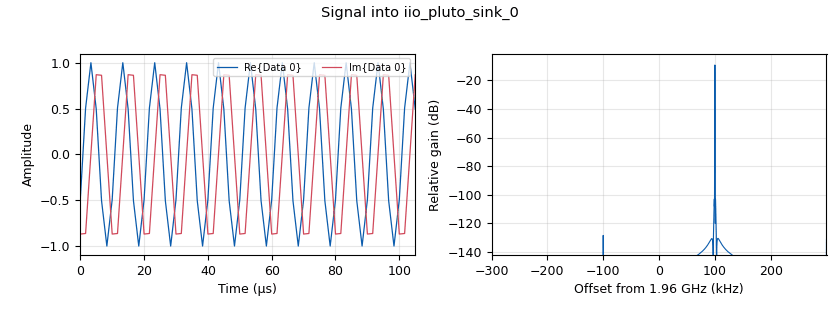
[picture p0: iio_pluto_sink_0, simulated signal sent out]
options:
  parameters:
    generate_options: qt_gui
    id: top_block
    output_language: python
  states: {}

blocks:
- name: BlankSpacerToFormatTab
  id: variable_qtgui_label
  parameters:
    gui_hint: ControlTab@0:2,0,4,5
    label: '"  "'
    type: string
    value: '"  "'
  states: {}
- name: Center_freq
  id: variable_qtgui_range
  parameters:
    gui_hint: ControlTab@1:0,0
    label: Signal Freq (MHz)
    min_len: '10'
    orient: Qt.Horizontal
    start: '1000'
    step: '10'
    stop: '2000'
    value: '1960'
  states: {}
- name: Phase_Delta
  id: variable_qtgui_range
  parameters:
    gui_hint: ControlTab@1:0,1,1,5
    orient: Qt.Horizontal
    start: '-199.6875'
    step: '2.8125'
    stop: '199.6875'
    value: '0'
  states: {}
- name: Rx1
  id: variable_qtgui_label
  parameters:
    gui_hint: ControlTab@1:1,0,1,1
    type: int
    value: ((Phase_Delta*0+Rx1_Cal) % 360)
  states: {}
- name: Rx1_Cal
  id: variable_qtgui_range
  parameters:
    gui_hint: ControlTab@1:1,1,1,5
    label: Rx1_Phase
    orient: Qt.Horizontal
    start: '0'
    step: '2.8125'
    stop: '357.1875'
    value: '0'
  states: {}
- name: Rx2
  id: variable_qtgui_label
  parameters:
    gui_hint: ControlTab@1:2,0,1,1
    type: int
    value: ((Phase_Delta*1+Rx2_Cal) % 360)
  states: {}
- name: Rx2_Cal
  id: variable_qtgui_range
  parameters:
    gui_hint: ControlTab@1:2,1,1,5
    label: Rx2_Phase
    orient: Qt.Horizontal
    start: '0'
    step: '2.8125'
    stop: '357.1875'
    value: '0'
  states: {}
- name: Rx3
  id: variable_qtgui_label
  parameters:
    gui_hint: ControlTab@1:3,0,1,1
    type: int
    value: ((Phase_Delta*2+Rx3_Cal) % 360)
  states: {}
- name: Rx3_Cal
  id: variable_qtgui_range
  parameters:
    gui_hint: ControlTab@1:3,1,1,5
    label: Rx3_Phase
    orient: Qt.Horizontal
    start: '0'
    step: '2.8125'
    stop: '357.1875'
    value: '0'
  states: {}
- name: Rx4
  id: variable_qtgui_label
  parameters:
    gui_hint: ControlTab@1:4,0,1,1
    type: int
    value: ((Phase_Delta*3+Rx4_Cal) % 360)
  states: {}
- name: Rx4_Cal
  id: variable_qtgui_range
  parameters:
    gui_hint: ControlTab@1:4,1,1,5
    label: Rx4_Phase
    orient: Qt.Horizontal
    start: '0'
    step: '2.8125'
    stop: '357.1875'
    value: '0'
  states: {}
- name: RxGain
  id: variable_qtgui_range
  parameters:
    gui_hint: ControlTab@0:1,0,1,5
    orient: Qt.Horizontal
    start: '0'
    step: '1'
    stop: '60'
    value: '0'
  states: {}
- name: TX_freq
  id: variable
  parameters:
    value: '1.96'
  states: {}
- name: samp_rate
  id: variable
  parameters:
    value: int(600000)
  states: {}
- name: ControlTab
  id: qtgui_tab_widget
  parameters:
    gui_hint: 7,0, 7,7
    label0: Pluto Control
    label1: ADAR1000 Phase Control
    label2: AllPlots
    label3: Waterfall
    num_tabs: '4'
  states: {}
- name: analog_sig_source_x_1
  id: analog_sig_source_x
  parameters:
    amp: '1'
    freq: int(100000)
    offset: '0'
    phase: '0'
    samp_rate: samp_rate
    type: complex
    waveform: analog.GR_COS_WAVE
  states: {}
- name: blocks_null_sink_0
  id: blocks_null_sink
  parameters:
    type: float
  states: {}
- name: epy_block_0
  id: epy_block
  parameters:
    PhaseDelta: Phase_Delta
    Rx1_Phase_Cal: Rx1_Cal
    Rx2_Phase_Cal: Rx2_Cal
    Rx3_Phase_Cal: Rx3_Cal
    Rx4_Phase_Cal: Rx4_Cal
    SignalFreq: int(Center_freq*1000000)
    UpdateRate: '0.1'
    _source_code: |
      # ADAR1000 Phase Control and Steering Angle Calculation

      '''
      Useful resources:
          Introduction to Phased Array Antennas: https://www.analog.com/en/analog-dialogue/articles/phased-array-antenna-patterns-part1.html#
          Full workshop build instructions at www.github.com/jonkraft/phasedarray
          Analog Devices Python Interfaces:  https://analogdevicesinc.github.io/pyadi-iio/
          Python examples:  https://github.com/analogdevicesinc/pyadi-iio/tree/master/examples
          GNU Radio and IIO Devices:  https://wiki.analog.com/resources/tools-software/linux-software/gnuradio
          ADI Kuiper Linux for Raspberry Pi:  https://wiki.analog.com/resources/tools-software/linux-software/gnuradio
      '''

      # Copyright (C) 2019 Analog Devices, Inc.
      #
      # All rights reserved.
      #
      # Redistribution and use in source and binary forms, with or without modification,
      # are permitted provided that the following conditions are met:
      #     - Redistributions of source code must retain the above copyright
      #       notice, this list of conditions and the following disclaimer.
      #     - Redistributions in binary form must reproduce the above copyright
      #       notice, this list of conditions and the following disclaimer in
      #       the documentation and/or other materials provided with the
      #       distribution.
      #     - Neither the name of Analog Devices, Inc. nor the names of its
      #       contributors may be used to endorse or promote products derived
      #       from this software without specific prior written permission.
      #     - The use of this software may or may not infringe the patent rights
      #       of one or more patent holders.  This license does not release you
      #       from the requirement that you obtain separate licenses from these
      #       patent holders to use this software.
      #     - Use of the software either in source or binary form, must be run
      #       on or directly connected to an Analog Devices Inc. component.
      #
      # THIS SOFTWARE IS PROVIDED BY ANALOG DEVICES "AS IS" AND ANY EXPRESS OR IMPLIED WARRANTIES,
      # INCLUDING, BUT NOT LIMITED TO, NON-INFRINGEMENT, MERCHANTABILITY AND FITNESS FOR A
      # PARTICULAR PURPOSE ARE DISCLAIMED.
      #
      # IN NO EVENT SHALL ANALOG DEVICES BE LIABLE FOR ANY DIRECT, INDIRECT, INCIDENTAL, SPECIAL,
      # EXEMPLARY, OR CONSEQUENTIAL DAMAGES (INCLUDING, BUT NOT LIMITED TO, INTELLECTUAL PROPERTY
      # RIGHTS, PROCUREMENT OF SUBSTITUTE GOODS OR SERVICES; LOSS OF USE, DATA, OR PROFITS; OR
      # BUSINESS INTERRUPTION) HOWEVER CAUSED AND ON ANY THEORY OF LIABILITY, WHETHER IN CONTRACT,
      # STRICT LIABILITY, OR TORT (INCLUDING NEGLIGENCE OR OTHERWISE) ARISING IN ANY WAY OUT OF
      # THE USE OF THIS SOFTWARE, EVEN IF ADVISED OF THE POSSIBILITY OF SUCH DAMAGE.


      import numpy as np
      import time
      import spidev
      from gnuradio import gr

      class blk(gr.sync_block):  # other base classes are basic_block, decim_block, interp_block

          def __init__(self, PhaseDelta=45, SignalFreq=10525000000, UpdateRate=2, Rx1_Phase_Cal=0, Rx2_Phase_Cal=0, Rx3_Phase_Cal=0, Rx4_Phase_Cal=0):  # only default arguments here
              """arguments to this function show up as parameters in GRC"""
              gr.sync_block.__init__(
                  self,
                  name='Calculate Steering Angle',   # will show up in GRC
                  in_sig=[],   # we have no flowgraph inputs to this block
                  out_sig=[np.float32]   # we have one flowgraph output, which is the calculated steering angle
              )
              # if an attribute with the same name as a parameter is found,
              # a callback is registered (properties work, too).
              self.UpdateRate = UpdateRate
              self.PhaseDelta = PhaseDelta
              self.Rx1_Phase_Cal = Rx1_Phase_Cal
              self.Rx2_Phase_Cal = Rx2_Phase_Cal
              self.Rx3_Phase_Cal = Rx3_Phase_Cal
              self.Rx4_Phase_Cal = Rx4_Phase_Cal

              # The ADDR is set by the address pins on the ADAR1000.  This is set by P10 on the eval board.
              self.ADDR=0x20            # ADDR 0x20 is set by jumpering pins 4 and 6 on P10
              #self.ADDR=0x00           # ADDR 0x00 is set by leaving all jumpers off of P10
              
              self.c = 299792458    # speed of light in m/s
              self.d = 0.015        # element to element spacing of the antenna
              self.f = SignalFreq
                     
              self.spi = spidev.SpiDev()
              self.spi.open(0, 0)  #set bus=0 and device=0
              self.spi.max_speed_hz = 500000
              self.spi.mode = 0

              # Initialize the ADAR1000
              self.spi.xfer2([self.ADDR, 0x00, 0x81])  # reset the device
              self.spi.xfer2([self.ADDR, 0x00, 0x18])  # Sets SDO  pin to active (4 wire SPI)
              self.spi.xfer2([self.ADDR+0x04, 0x00, 0x55])  # Trims LDO to 1.8V
              self.spi.xfer2([self.ADDR, 0x38, 0x60])  # Bypasses beam and bias RAM (use SPI for gain/phase)
              self.spi.xfer2([self.ADDR, 0x2E, 0x7F])  # Enables all 4 Rx channels, LNA, VGA, and Vector Mod
              self.spi.xfer2([self.ADDR, 0x34, 0x08])  # Sets LNA bias to middle of its range
              self.spi.xfer2([self.ADDR, 0x35, 0x16])  # Sets VGA bias to [0010] and vector mod bias to [110]
              self.spi.xfer2([self.ADDR, 0x31, 0xB0])  # SPI Control of Rx: Enables the whole Rx and sets the ADTR1107 switch high (Rx mode), SPI control of TR
              #self.spi.xfer2([self.ADDR, 0x31, 0x94])  # TR Control of Rx: Enables the whole Rx and sets the ADTR1107 switch high (Rx mode) when TR is low


              # Write registers to set Rx1-4 to Max Gain
              self.spi.xfer2([self.ADDR, 0x10, int(128+40)])  # Sets Rx1 VGA gain
              self.spi.xfer2([self.ADDR, 0x11, int(128+127)])  # Sets Rx2 VGA gain
              self.spi.xfer2([self.ADDR, 0x12, int(128+127)])  # Sets Rx3 VGA gain
              self.spi.xfer2([self.ADDR, 0x13, int(128+40)])  # Sets Rx4 VGA gain


          def work(self, input_items, output_items):
              # steering angle theta = arcsin(c*deltaphase/(2*pi*f*d)
              # if element spacing is lambda/2 then this simplifies to theta=arcsin(deltaphase(in radians)/pi)
              value1 = (self.c * np.radians(np.abs(self.PhaseDelta)))/(2*3.14159*self.f*self.d)
              clamped_value1 = max(min(1, value1), -1)     #arcsin argument must be between 1 and -1, or numpy will throw a warning
              theta = np.degrees(np.arcsin(clamped_value1))
              if self.PhaseDelta>=0:
                  SteerAngle = 90-theta   # positive PhaseDelta covers 0deg to 90 deg
              else:
                  SteerAngle = 90+theta # negative phase delta covers 0 deg to -90 deg
                  
              step_size = 2.8125
              Phase_A = ((np.rint(self.PhaseDelta*0/step_size)*step_size) + self.Rx1_Phase_Cal) % 360
              Phase_B = ((np.rint(self.PhaseDelta*1/step_size)*step_size) + self.Rx2_Phase_Cal) % 360
              Phase_C = ((np.rint(self.PhaseDelta*2/step_size)*step_size) + self.Rx3_Phase_Cal) % 360
              Phase_D = ((np.rint(self.PhaseDelta*3/step_size)*step_size) + self.Rx4_Phase_Cal) % 360
              channels = [Phase_A, Phase_B, Phase_C, Phase_D]

              # Write vector I and Q to set Rx1 (see Table 13 in ADAR1000 datasheet)
              i=1
              for Channel_Phase in channels:
                  #Channel_Phase = self.Rx1_phase     # Which Rx phase control channel are we looking at?
                  if i==1:
                      I = 0x14   # Rx1_I vector register address = 0x14
                      Q = 0x15   # Rx1_Q vector register address = 0x15
                  if i==2:
                      I = 0x16   # Rx2_I vector register address = 0x16
                      Q = 0x17   # Rx2_Q vector register address = 0x17
                  if i==3:
                      I = 0x18   # Rx3_I vector register address = 0x18
                      Q = 0x19   # Rx3_Q vector register address = 0x19
                  if i==4:
                      I = 0x1A   # Rx4_I vector register address = 0x1A
                      Q = 0x1B   # Rx4_Q vector register address = 0x1B
                  i = i+1

                  # See Table 13 in the ADAR1000 datasheet
                  # Quadrant 1
                  if Channel_Phase==0:
                      self.spi.xfer2([self.ADDR, I, 0x3F])
                      self.spi.xfer2([self.ADDR, Q, 0x20])
                  if Channel_Phase==2.8125:
                      self.spi.xfer2([self.ADDR, I, 0x3F])
                      self.spi.xfer2([self.ADDR, Q, 0x21])
                  if Channel_Phase==5.625:
                      self.spi.xfer2([self.ADDR, I, 0x3F])
                      self.spi.xfer2([self.ADDR, Q, 0x23])
                  if Channel_Phase==8.4375:
                      self.spi.xfer2([self.ADDR, I, 0x3F])
                      self.spi.xfer2([self.ADDR, Q, 0x24])
                  if Channel_Phase==11.25:
                      self.spi.xfer2([self.ADDR, I, 0x3F])
                      self.spi.xfer2([self.ADDR, Q, 0x26])
                  if Channel_Phase==14.0625:
                      self.spi.xfer2([self.ADDR, I, 0x3E])
                      self.spi.xfer2([self.ADDR, Q, 0x27])
                  if Channel_Phase==16.875:
                      self.spi.xfer2([self.ADDR, I, 0x3E])
                      self.spi.xfer2([self.ADDR, Q, 0x28])
                  if Channel_Phase==19.6875:
                      self.spi.xfer2([self.ADDR, I, 0x3D])
                      self.spi.xfer2([self.ADDR, Q, 0x2A])
                  if Channel_Phase==22.5:
                      self.spi.xfer2([self.ADDR, I, 0x3D])
                      self.spi.xfer2([self.ADDR, Q, 0x2B])
                  if Channel_Phase==25.3125:
                      self.spi.xfer2([self.ADDR, I, 0x3C])
                      self.spi.xfer2([self.ADDR, Q, 0x2D])
                  if Channel_Phase==28.125:
                      self.spi.xfer2([self.ADDR, I, 0x3C])
                      self.spi.xfer2([self.ADDR, Q, 0x2E])
                  if Channel_Phase==30.9375:
                      self.spi.xfer2([self.ADDR, I, 0x3B])
                      self.spi.xfer2([self.ADDR, Q, 0x2F])
                  if Channel_Phase==33.75:
                      self.spi.xfer2([self.ADDR, I, 0x3A])
                      self.spi.xfer2([self.ADDR, Q, 0x30])
                  if Channel_Phase==36.5625:
                      self.spi.xfer2([self.ADDR, I, 0x39])
                      self.spi.xfer2([self.ADDR, Q, 0x31])
                  if Channel_Phase==39.375:
                      self.spi.xfer2([self.ADDR, I, 0x38])
                      self.spi.xfer2([self.ADDR, Q, 0x33])
                  if Channel_Phase==42.1875:
                      self.spi.xfer2([self.ADDR, I, 0x37])
                      self.spi.xfer2([self.ADDR, Q, 0x34])
                  if Channel_Phase==45:
                      self.spi.xfer2([self.ADDR, I, 0x36])
                      self.spi.xfer2([self.ADDR, Q, 0x35])
                  if Channel_Phase==47.8125:
                      self.spi.xfer2([self.ADDR, I, 0x35])
                      self.spi.xfer2([self.ADDR, Q, 0x36])
                  if Channel_Phase==50.625:
                      self.spi.xfer2([self.ADDR, I, 0x34])
                      self.spi.xfer2([self.ADDR, Q, 0x37])
                  if Channel_Phase==53.4375:
                      self.spi.xfer2([self.ADDR, I, 0x33])
                      self.spi.xfer2([self.ADDR, Q, 0x38])
                  if Channel_Phase==56.25:
                      self.spi.xfer2([self.ADDR, I, 0x32])
                      self.spi.xfer2([self.ADDR, Q, 0x38])
                  if Channel_Phase==59.0625:
                      self.spi.xfer2([self.ADDR, I, 0x30])
                      self.spi.xfer2([self.ADDR, Q, 0x39])
                  if Channel_Phase==61.875:
                      self.spi.xfer2([self.ADDR, I, 0x2F])
                      self.spi.xfer2([self.ADDR, Q, 0x3A])
                  if Channel_Phase==64.6875:
                      self.spi.xfer2([self.ADDR, I, 0x2E])
                      self.spi.xfer2([self.ADDR, Q, 0x3A])
                  if Channel_Phase==67.5:
                      self.spi.xfer2([self.ADDR, I, 0x2C])
                      self.spi.xfer2([self.ADDR, Q, 0x3B])
                  if Channel_Phase==70.3125:
                      self.spi.xfer2([self.ADDR, I, 0x2B])
                      self.spi.xfer2([self.ADDR, Q, 0x3C])
                  if Channel_Phase==73.125:
                      self.spi.xfer2([self.ADDR, I, 0x2A])
                      self.spi.xfer2([self.ADDR, Q, 0x3C])
                  if Channel_Phase==75.9375:
                      self.spi.xfer2([self.ADDR, I, 0x28])
                      self.spi.xfer2([self.ADDR, Q, 0x3C])
                  if Channel_Phase==78.75:
                      self.spi.xfer2([self.ADDR, I, 0x27])
                      self.spi.xfer2([self.ADDR, Q, 0x3D])
                  if Channel_Phase==81.5625:
                      self.spi.xfer2([self.ADDR, I, 0x25])
                      self.spi.xfer2([self.ADDR, Q, 0x3D])
                  if Channel_Phase==84.375:
                      self.spi.xfer2([self.ADDR, I, 0x24])
                      self.spi.xfer2([self.ADDR, Q, 0x3D])
                  if Channel_Phase==87.1875:
                      self.spi.xfer2([self.ADDR, I, 0x22])
                      self.spi.xfer2([self.ADDR, Q, 0x3D])
                      
              # Quadrant 2
                  if Channel_Phase==90:
                      self.spi.xfer2([self.ADDR, I, 0x21])
                      self.spi.xfer2([self.ADDR, Q, 0x3D])
                  if Channel_Phase==92.8125:
                      self.spi.xfer2([self.ADDR, I, 0x01])
                      self.spi.xfer2([self.ADDR, Q, 0x3D])
                  if Channel_Phase==95.625:
                      self.spi.xfer2([self.ADDR, I, 0x03])
                      self.spi.xfer2([self.ADDR, Q, 0x3D])
                  if Channel_Phase==98.4375:
                      self.spi.xfer2([self.ADDR, I, 0x04])
                      self.spi.xfer2([self.ADDR, Q, 0x3D])
                  if Channel_Phase==101.25:
                      self.spi.xfer2([self.ADDR, I, 0x06])
                      self.spi.xfer2([self.ADDR, Q, 0x3D])
                  if Channel_Phase==104.0625:
                      self.spi.xfer2([self.ADDR, I, 0x07])
                      self.spi.xfer2([self.ADDR, Q, 0x3C])
                  if Channel_Phase==106.875:
                      self.spi.xfer2([self.ADDR, I, 0x08])
                      self.spi.xfer2([self.ADDR, Q, 0x3C])
                  if Channel_Phase==109.6875:
                      self.spi.xfer2([self.ADDR, I, 0x0A])
                      self.spi.xfer2([self.ADDR, Q, 0x3C])
                  if Channel_Phase==112.5:
                      self.spi.xfer2([self.ADDR, I, 0x0B])
                      self.spi.xfer2([self.ADDR, Q, 0x3B])
                  if Channel_Phase==115.3125:
                      self.spi.xfer2([self.ADDR, I, 0x0D])
                      self.spi.xfer2([self.ADDR, Q, 0x3A])
                  if Channel_Phase==118.125:
                      self.spi.xfer2([self.ADDR, I, 0x0E])
                      self.spi.xfer2([self.ADDR, Q, 0x3A])
                  if Channel_Phase==120.9375:
                      self.spi.xfer2([self.ADDR, I, 0x0F])
                      self.spi.xfer2([self.ADDR, Q, 0x39])
                  if Channel_Phase==123.75:
                      self.spi.xfer2([self.ADDR, I, 0x11])
                      self.spi.xfer2([self.ADDR, Q, 0x38])
                  if Channel_Phase==126.5625:
                      self.spi.xfer2([self.ADDR, I, 0x12])
                      self.spi.xfer2([self.ADDR, Q, 0x38])
                  if Channel_Phase==129.375:
                      self.spi.xfer2([self.ADDR, I, 0x13])
                      self.spi.xfer2([self.ADDR, Q, 0x37])
                  if Channel_Phase==132.1875:
                      self.spi.xfer2([self.ADDR, I, 0x14])
                      self.spi.xfer2([self.ADDR, Q, 0x36])
                  if Channel_Phase==135:
                      self.spi.xfer2([self.ADDR, I, 0x16])
                      self.spi.xfer2([self.ADDR, Q, 0x35])
                  if Channel_Phase==137.8125:
                      self.spi.xfer2([self.ADDR, I, 0x17])
                      self.spi.xfer2([self.ADDR, Q, 0x34])
                  if Channel_Phase==140.625:
                      self.spi.xfer2([self.ADDR, I, 0x18])
                      self.spi.xfer2([self.ADDR, Q, 0x33])
                  if Channel_Phase==143.4375:
                      self.spi.xfer2([self.ADDR, I, 0x19])
                      self.spi.xfer2([self.ADDR, Q, 0x31])
                  if Channel_Phase==146.25:
                      self.spi.xfer2([self.ADDR, I, 0x19])
                      self.spi.xfer2([self.ADDR, Q, 0x30])
                  if Channel_Phase==149.0625:
                      self.spi.xfer2([self.ADDR, I, 0x1A])
                      self.spi.xfer2([self.ADDR, Q, 0x2F])
                  if Channel_Phase==151.875:
                      self.spi.xfer2([self.ADDR, I, 0x1B])
                      self.spi.xfer2([self.ADDR, Q, 0x2E])
                  if Channel_Phase==154.6875:
                      self.spi.xfer2([self.ADDR, I, 0x1C])
                      self.spi.xfer2([self.ADDR, Q, 0x2D])
                  if Channel_Phase==157.5:
                      self.spi.xfer2([self.ADDR, I, 0x1C])
                      self.spi.xfer2([self.ADDR, Q, 0x2B])
                  if Channel_Phase==160.3125:
                      self.spi.xfer2([self.ADDR, I, 0x1D])
                      self.spi.xfer2([self.ADDR, Q, 0x2A])
                  if Channel_Phase==163.125:
                      self.spi.xfer2([self.ADDR, I, 0X1E])
                      self.spi.xfer2([self.ADDR, Q, 0x28])
                  if Channel_Phase==165.9375:
                      self.spi.xfer2([self.ADDR, I, 0x1E])
                      self.spi.xfer2([self.ADDR, Q, 0x27])
                  if Channel_Phase==168.75:
                      self.spi.xfer2([self.ADDR, I, 0x1E])
                      self.spi.xfer2([self.ADDR, Q, 0x26])
                  if Channel_Phase==171.5625:
                      self.spi.xfer2([self.ADDR, I, 0x1F])
                      self.spi.xfer2([self.ADDR, Q, 0x24])
                  if Channel_Phase==174.375:
                      self.spi.xfer2([self.ADDR, I, 0x1F])
                      self.spi.xfer2([self.ADDR, Q, 0x23])
                  if Channel_Phase==177.1875:
                      self.spi.xfer2([self.ADDR, I, 0x1F])
                      self.spi.xfer2([self.ADDR, Q, 0x21])
                      
              # Quadrant 3
                  if Channel_Phase==180:
                      self.spi.xfer2([self.ADDR, I, 0x1F])
                      self.spi.xfer2([self.ADDR, Q, 0x20])
                  if Channel_Phase==182.8125:
                      self.spi.xfer2([self.ADDR, I, 0x1F])
                      self.spi.xfer2([self.ADDR, Q, 0x20])
                  if Channel_Phase==185.625:
                      self.spi.xfer2([self.ADDR, I, 0x1F])
                      self.spi.xfer2([self.ADDR, Q, 0x03])
                  if Channel_Phase==188.4375:
                      self.spi.xfer2([self.ADDR, I, 0x1F])
                      self.spi.xfer2([self.ADDR, Q, 0x04])
                  if Channel_Phase==191.25:
                      self.spi.xfer2([self.ADDR, I, 0x1F])
                      self.spi.xfer2([self.ADDR, Q, 0x06])
                  if Channel_Phase==194.0625:
                      self.spi.xfer2([self.ADDR, I, 0x1E])
                      self.spi.xfer2([self.ADDR, Q, 0x07])
                  if Channel_Phase==196.875:
                      self.spi.xfer2([self.ADDR, I, 0x1E])
                      self.spi.xfer2([self.ADDR, Q, 0x08])
                  if Channel_Phase==199.6875:
                      self.spi.xfer2([self.ADDR, I, 0x1D])
                      self.spi.xfer2([self.ADDR, Q, 0x0A])
                  if Channel_Phase==202.5:
                      self.spi.xfer2([self.ADDR, I, 0x1D])
                      self.spi.xfer2([self.ADDR, Q, 0x0B])
                  if Channel_Phase==205.3125:
                      self.spi.xfer2([self.ADDR, I, 0x1C])
                      self.spi.xfer2([self.ADDR, Q, 0x0D])
                  if Channel_Phase==208.125:
                      self.spi.xfer2([self.ADDR, I, 0x1C])
                      self.spi.xfer2([self.ADDR, Q, 0x0E])
                  if Channel_Phase==210.9375:
                      self.spi.xfer2([self.ADDR, I, 0x1B])
                      self.spi.xfer2([self.ADDR, Q, 0x0F])
                  if Channel_Phase==213.75:
                      self.spi.xfer2([self.ADDR, I, 0x1A])
                      self.spi.xfer2([self.ADDR, Q, 0x10])
                  if Channel_Phase==216.5625:
                      self.spi.xfer2([self.ADDR, I, 0x19])
                      self.spi.xfer2([self.ADDR, Q, 0x11])
                  if Channel_Phase==219.375:
                      self.spi.xfer2([self.ADDR, I, 0x18])
                      self.spi.xfer2([self.ADDR, Q, 0x13])
                  if Channel_Phase==222.1875:
                      self.spi.xfer2([self.ADDR, I, 0x17])
                      self.spi.xfer2([self.ADDR, Q, 0x14])
                  if Channel_Phase==225:
                      self.spi.xfer2([self.ADDR, I, 0x16])
                      self.spi.xfer2([self.ADDR, Q, 0x15])
                  if Channel_Phase==227.8125:
                      self.spi.xfer2([self.ADDR, I, 0x15])
                      self.spi.xfer2([self.ADDR, Q, 0x16])
                  if Channel_Phase==230.625:
                      self.spi.xfer2([self.ADDR, I, 0x14])
                      self.spi.xfer2([self.ADDR, Q, 0x17])
                  if Channel_Phase==233.4375:
                      self.spi.xfer2([self.ADDR, I, 0x13])
                      self.spi.xfer2([self.ADDR, Q, 0x18])
                  if Channel_Phase==236.25:
                      self.spi.xfer2([self.ADDR, I, 0x12])
                      self.spi.xfer2([self.ADDR, Q, 0x18])
                  if Channel_Phase==239.0625:
                      self.spi.xfer2([self.ADDR, I, 0x10])
                      self.spi.xfer2([self.ADDR, Q, 0x19])
                  if Channel_Phase==241.875:
                      self.spi.xfer2([self.ADDR, I, 0x0F])
                      self.spi.xfer2([self.ADDR, Q, 0x1A])
                  if Channel_Phase==244.6875:
                      self.spi.xfer2([self.ADDR, I, 0x0E])
                      self.spi.xfer2([self.ADDR, Q, 0x1A])
                  if Channel_Phase==247.5:
                      self.spi.xfer2([self.ADDR, I, 0x0C])
                      self.spi.xfer2([self.ADDR, Q, 0x1B])
                  if Channel_Phase==250.3125:
                      self.spi.xfer2([self.ADDR, I, 0x0B])
                      self.spi.xfer2([self.ADDR, Q, 0x1C])
                  if Channel_Phase==253.125:
                      self.spi.xfer2([self.ADDR, I, 0x0A])
                      self.spi.xfer2([self.ADDR, Q, 0x1C])
                  if Channel_Phase==255.9375:
                      self.spi.xfer2([self.ADDR, I, 0x08])
                      self.spi.xfer2([self.ADDR, Q, 0x1C])
                  if Channel_Phase==258.75:
                      self.spi.xfer2([self.ADDR, I, 0x07])
                      self.spi.xfer2([self.ADDR, Q, 0x1D])
                  if Channel_Phase==261.5625:
                      self.spi.xfer2([self.ADDR, I, 0x05])
                      self.spi.xfer2([self.ADDR, Q, 0x1D])
                  if Channel_Phase==264.375:
                      self.spi.xfer2([self.ADDR, I, 0x04])
                      self.spi.xfer2([self.ADDR, Q, 0x1D])
                  if Channel_Phase==267.1875:
                      self.spi.xfer2([self.ADDR, I, 0x02])
                      self.spi.xfer2([self.ADDR, Q, 0x1D])
              
              # Quadrant 4
                  if Channel_Phase==270:
                      self.spi.xfer2([self.ADDR, I, 0x01])
                      self.spi.xfer2([self.ADDR, Q, 0x1D])
                  if Channel_Phase==272.8125:
                      self.spi.xfer2([self.ADDR, I, 0x21])
                      self.spi.xfer2([self.ADDR, Q, 0x1D])
                  if Channel_Phase==275.625:
                      self.spi.xfer2([self.ADDR, I, 0x23])
                      self.spi.xfer2([self.ADDR, Q, 0x1D])
                  if Channel_Phase==278.4375:
                      self.spi.xfer2([self.ADDR, I, 0x24])
                      self.spi.xfer2([self.ADDR, Q, 0x1D])
                  if Channel_Phase==281.25:
                      self.spi.xfer2([self.ADDR, I, 0x26])
                      self.spi.xfer2([self.ADDR, Q, 0x1D])
                  if Channel_Phase==284.0625:
                      self.spi.xfer2([self.ADDR, I, 0x27])
                      self.spi.xfer2([self.ADDR, Q, 0x1C])
                  if Channel_Phase==286.875:
                      self.spi.xfer2([self.ADDR, I, 0x28])
                      self.spi.xfer2([self.ADDR, Q, 0x1C])
                  if Channel_Phase==289.6875:
                      self.spi.xfer2([self.ADDR, I, 0x2A])
                      self.spi.xfer2([self.ADDR, Q, 0x1C])
                  if Channel_Phase==292.5:
                      self.spi.xfer2([self.ADDR, I, 0x2B])
                      self.spi.xfer2([self.ADDR, Q, 0x1B])
                  if Channel_Phase==295.3125:
                      self.spi.xfer2([self.ADDR, I, 0x2D])
                      self.spi.xfer2([self.ADDR, Q, 0x1A])
                  if Channel_Phase==298.125:
                      self.spi.xfer2([self.ADDR, I, 0x2E])
                      self.spi.xfer2([self.ADDR, Q, 0x1A])
                  if Channel_Phase==300.9375:
                      self.spi.xfer2([self.ADDR, I, 0x2F])
                      self.spi.xfer2([self.ADDR, Q, 0x19])
                  if Channel_Phase==303.75:
                      self.spi.xfer2([self.ADDR, I, 0x31])
                      self.spi.xfer2([self.ADDR, Q, 0x18])
                  if Channel_Phase==306.5625:
                      self.spi.xfer2([self.ADDR, I, 0x32])
                      self.spi.xfer2([self.ADDR, Q, 0x18])
                  if Channel_Phase==309.375:
                      self.spi.xfer2([self.ADDR, I, 0x33])
                      self.spi.xfer2([self.ADDR, Q, 0x17])
                  if Channel_Phase==312.1875:
                      self.spi.xfer2([self.ADDR, I, 0x34])
                      self.spi.xfer2([self.ADDR, Q, 0x16])
                  if Channel_Phase==315:
                      self.spi.xfer2([self.ADDR, I, 0x36])
                      self.spi.xfer2([self.ADDR, Q, 0x15])
                  if Channel_Phase==317.8125:
                      self.spi.xfer2([self.ADDR, I, 0x37])
                      self.spi.xfer2([self.ADDR, Q, 0x14])
                  if Channel_Phase==320.625:
                      self.spi.xfer2([self.ADDR, I, 0x38])
                      self.spi.xfer2([self.ADDR, Q, 0x13])
                  if Channel_Phase==323.4375:
                      self.spi.xfer2([self.ADDR, I, 0x39])
                      self.spi.xfer2([self.ADDR, Q, 0x11])
                  if Channel_Phase==326.25:
                      self.spi.xfer2([self.ADDR, I, 0x39])
                      self.spi.xfer2([self.ADDR, Q, 0x10])
                  if Channel_Phase==329.0625:
                      self.spi.xfer2([self.ADDR, I, 0x3A])
                      self.spi.xfer2([self.ADDR, Q, 0x0F])
                  if Channel_Phase==331.875:
                      self.spi.xfer2([self.ADDR, I, 0x3B])
                      self.spi.xfer2([self.ADDR, Q, 0x0E])
                  if Channel_Phase==334.6875:
                      self.spi.xfer2([self.ADDR, I, 0x3C])
                      self.spi.xfer2([self.ADDR, Q, 0x0D])
                  if Channel_Phase==337.5:
                      self.spi.xfer2([self.ADDR, I, 0x3C])
                      self.spi.xfer2([self.ADDR, Q, 0x0B])
                  if Channel_Phase==340.3125:
                      self.spi.xfer2([self.ADDR, I, 0x3D])
                      self.spi.xfer2([self.ADDR, Q, 0x0A])
                  if Channel_Phase==343.125:
                      self.spi.xfer2([self.ADDR, I, 0x3E])
                      self.spi.xfer2([self.ADDR, Q, 0x08])
                  if Channel_Phase==345.9375:
                      self.spi.xfer2([self.ADDR, I, 0x3E])
                      self.spi.xfer2([self.ADDR, Q, 0x07])
                  if Channel_Phase==348.75:
                      self.spi.xfer2([self.ADDR, I, 0x3E])
                      self.spi.xfer2([self.ADDR, Q, 0x06])
                  if Channel_Phase==351.5625:
                      self.spi.xfer2([self.ADDR, I, 0x3F])
                      self.spi.xfer2([self.ADDR, Q, 0x04])
                  if Channel_Phase==354.375:
                      self.spi.xfer2([self.ADDR, I, 0x3F])
                      self.spi.xfer2([self.ADDR, Q, 0x03])
                  if Channel_Phase==357.1875:
                      self.spi.xfer2([self.ADDR, I, 0x3F])
                      self.spi.xfer2([self.ADDR, Q, 0x01])
                      
              self.spi.xfer2([self.ADDR, 0x28, 0x01])  # Loads Rx vectors from SPI.
              time.sleep(self.UpdateRate)
              output_items[0][:] = SteerAngle * (-1) + 90
              
              return len(output_items[0])
  states: {}
- name: iio_pluto_sink_0
  id: iio_pluto_sink
  parameters:
    attenuation1: '10'
    auto_filter: 'True'
    bandwidth: int(samp_rate)
    buffer_size: 32768*16
    cyclic: 'True'
    frequency: int(Center_freq*1000000)
    samplerate: int(samp_rate)
  states: {}
- name: iio_pluto_source_0
  id: iio_pluto_source
  parameters:
    auto_filter: 'True'
    bandwidth: int(samp_rate)
    bbdc: 'True'
    buffer_size: 32768*4
    frequency: int(Center_freq*1000000)
    gain1: '''slow_attack'''
    manual_gain1: int(RxGain)
    quadrature: 'True'
    rfdc: 'True'
    samplerate: int(samp_rate)
  states: {}
- name: qtgui_number_sink_1
  id: qtgui_number_sink
  parameters:
    graph_type: qtgui.NUM_GRAPH_HORIZ
    max: '90'
    min: '-90'
    name: SteeringAngle
    type: float
    unit1: deg
  states: {state: disabled}
- name: qtgui_sink_x_0
  id: qtgui_sink_x
  parameters:
    bw: int(samp_rate)
    fc: int(Center_freq*1000000)
    fftsize: '32768'
    gui_hint: ControlTab@2
    showports: 'True'
    type: complex
    wintype: firdes.WIN_BLACKMAN_hARRIS
  states: {}
- name: qtgui_waterfall_sink_x_0
  id: qtgui_waterfall_sink_x
  parameters:
    bw: samp_rate
    fc: '0'
    fftsize: '32768'
    gui_hint: ControlTab@3
    type: complex
    update_time: '0.1'
    wintype: firdes.WIN_BLACKMAN_hARRIS
  states: {state: disabled}

connections:
- [analog_sig_source_x_1, '0', iio_pluto_sink_0, '0']
- [epy_block_0, '0', blocks_null_sink_0, '0']
- [epy_block_0, '0', qtgui_number_sink_1, '0']
- [iio_pluto_source_0, '0', qtgui_sink_x_0, '0']
- [iio_pluto_source_0, '0', qtgui_waterfall_sink_x_0, '0']

metadata:
  file_format: 1
